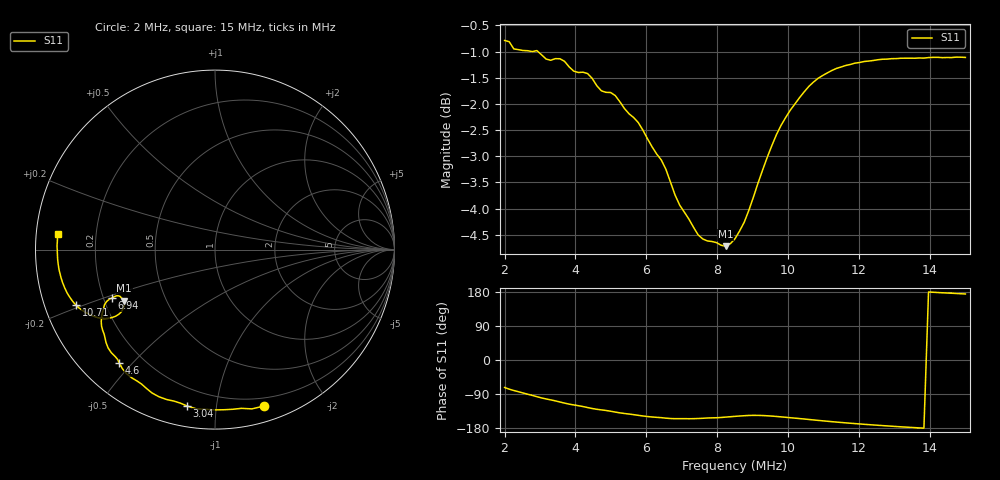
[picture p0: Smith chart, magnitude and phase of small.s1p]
# HZ S RI R 50
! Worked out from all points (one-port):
!   101 points, 2 MHz to 15 MHz, reference 50 ohm
!   lowest |S11| = -4.7 dB at 8.24 MHz (marker M1), VSWR 3.77, Z = 14.1 - j12.1 ohm
!   |S11| at or under -10 dB: nowhere
!   S11 on the Smith chart (normalised r, x): 2 MHz: 0.13, -1.36; 3.04 MHz: 0.10, -0.83; 4.6 MHz: 0.12, -0.46; 6.94 MHz: 0.23, -0.21; 10.71 MHz: 0.09, -0.19; 15 MHz: 0.06, +0.05
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2000000  0.2749 -0.8711
2130000  0.2054 -0.8874
2260000  0.1472 -0.8844
2650000  -0.00412 -0.893
2910000  -0.1047 -0.8872
3040000  -0.1551 -0.8715
3690000  -0.3509 -0.7988
4340000  -0.4921 -0.6922
4600000  -0.5321 -0.633
4990000  -0.5779 -0.574
5250000  -0.6068 -0.5188
5770000  -0.632 -0.4266
6030000  -0.6319 -0.377
6550000  -0.6156 -0.3072
6940000  -0.5754 -0.2703
7460000  -0.5369 -0.2576
8240000  -0.5064 -0.2846
8500000  -0.5045 -0.3069
8890000  -0.5231 -0.3483
9410000  -0.5938 -0.3826
9800000  -0.6566 -0.3782
1.019e7  -0.7104 -0.3552
1.071e7  -0.7731 -0.3107
1.123e7  -0.8162 -0.2543
1.175e7  -0.8435 -0.1974
1.253e7  -0.8675 -0.1181
1.344e7  -0.8778 -0.0343
1.5e7  -0.8755 0.0886
